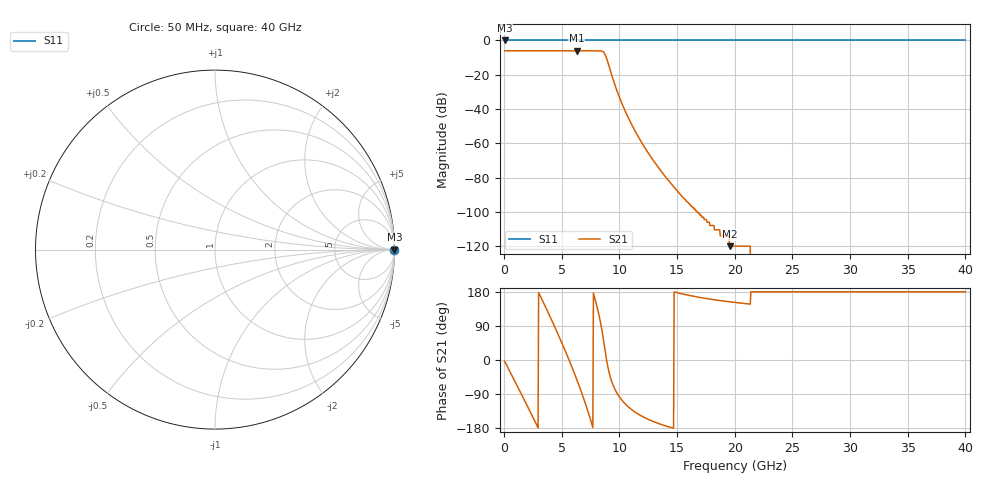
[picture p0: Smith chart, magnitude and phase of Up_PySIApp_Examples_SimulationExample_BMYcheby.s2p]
# MHz MA S R 50.0
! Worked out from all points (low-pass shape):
!   800 points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, 50 MHz to 40 GHz, reference 50 ohm
!   highest |S21| = -6.02 dB at 6.3 GHz (marker M1); lowest = -120.0 dB at 19.55 GHz (marker M2)
!   |S21| within 3 dB of the highest: start of sweep to 8.816 GHz
!   lowest |S11| = 0.0 dB at 50 MHz (marker M3)
!   |S11| at or under -10 dB: nowhere
!   S12 and S22 are empty: the file has one direction only
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50  1 -0.0  0.5 -3.0  0 0.0  0 0.0
1500  1 -0.0  0.4995 -89.8  0 0.0  0 0.0
2150  1 0.0  0.5 -129.4  0 0.0  0 0.0
2900  1 -0.0  0.4997 -175.8  0 0.0  0 0.0
3800  1 -0.0  0.4995 126.9  0 0.0  0 0.0
4500  1 0.0  0.5 80.4  0 0.0  0 0.0
5500  1 0.0  0.4994 10.2  0 0.0  0 0.0
6300  1 0.0  0.5 -50.9  0 0.0  0 0.0
6750  1 0.0  0.4996 -88.2  0 0.0  0 0.0
7250  1 0.0  0.4996 -133.1  0 0.0  0 0.0
7800  1 0.0  0.4997 171.0  0 0.0  0 0.0
8350  1 -0.0  0.4992 101.2  0 0.0  0 0.0
8700  1 0.0  0.4252 37.4  0 0.0  0 0.0
9150  1 0.0  0.1577 -37.9  0 0.0  0 0.0
10750  1 -0.0  0.005787 -122.9  0 0.0  0 0.0
13400  1 0.0  0.000193 -167.7  0 0.0  0 0.0
14250  1 -0.0  8.3e-05 -176.1  0 0.0  0 0.0
19550  1 0.0  1e-06 153.6  0 0.0  0 0.0
20050  1 0.0  1e-06 151.8  0 0.0  0 0.0
26700  1 0.0  0 135.0  0 0.0  0 0.0
33350  1 0.0  0 125.6  0 0.0  0 0.0
40000  1 -0.0  0 119.4  0 0.0  0 0.0
